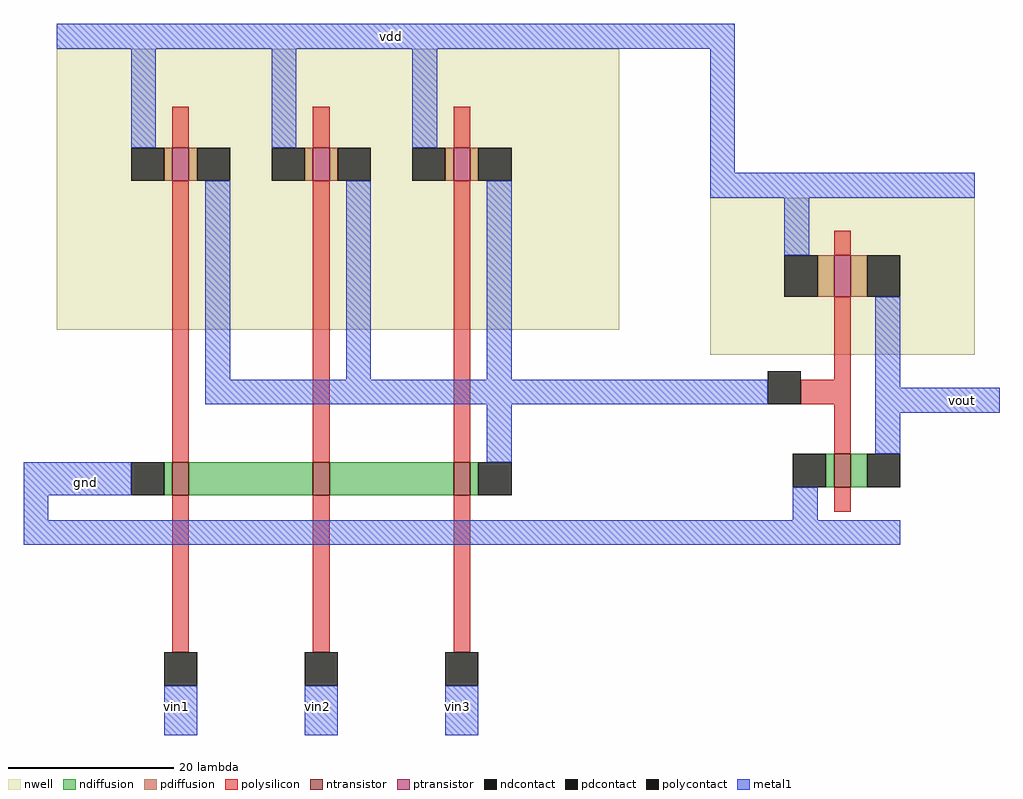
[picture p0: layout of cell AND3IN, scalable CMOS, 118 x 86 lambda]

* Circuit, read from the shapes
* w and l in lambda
.subckt AND3IN gnd vdd vin1 vin2 vin3 vout
M1 n1 vin1 gnd VSUBS nfet w=4 l=2
M2 n2 vin2 n1 VSUBS nfet w=4 l=2
M3 NOT_0/in vin3 n2 VSUBS nfet w=4 l=2
M4 vout NOT_0/in gnd VSUBS nfet w=4 l=2
M5 NOT_0/in vin1 vdd n3 pfet w=4 l=2
M6 NOT_0/in vin2 vdd n3 pfet w=4 l=2
M7 NOT_0/in vin3 vdd n3 pfet w=4 l=2
M8 vout NOT_0/in vdd n4 pfet w=5 l=2
.ends

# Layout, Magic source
magic
tech scmos
<< nwell >>
rect -14 -10 54 24
<< ntransistor >>
rect 0 -30 2 -26
rect 17 -30 19 -26
rect 34 -30 36 -26
<< ptransistor >>
rect 0 8 2 12
rect 17 8 19 12
rect 34 8 36 12
<< ndiffusion >>
rect -1 -30 0 -26
rect 2 -30 17 -26
rect 19 -30 34 -26
rect 36 -30 37 -26
<< pdiffusion >>
rect -1 8 0 12
rect 2 8 3 12
rect 16 8 17 12
rect 19 8 20 12
rect 33 8 34 12
rect 36 8 37 12
<< ndcontact >>
rect -5 -30 -1 -26
rect 37 -30 41 -26
<< pdcontact >>
rect -5 8 -1 12
rect 3 8 7 12
rect 12 8 16 12
rect 20 8 24 12
rect 29 8 33 12
rect 37 8 41 12
<< polysilicon >>
rect 0 12 2 17
rect 17 12 19 17
rect 34 12 36 17
rect 0 -26 2 8
rect 17 -26 19 8
rect 34 -26 36 8
rect 0 -49 2 -30
rect 17 -49 19 -30
rect 34 -49 36 -30
<< polycontact >>
rect -1 -53 3 -49
rect 16 -53 20 -49
rect 33 -53 37 -49
<< metal1 >>
rect -14 24 68 27
rect -5 12 -2 24
rect 12 12 15 24
rect 29 12 32 24
rect 4 -16 7 8
rect 21 -16 24 8
rect 38 -16 41 8
rect 65 6 68 24
rect 4 -19 70 -16
rect 38 -26 41 -19
rect 91 -20 100 -17
rect -18 -30 -5 -26
rect -18 -33 -15 -30
rect -18 -36 85 -33
rect -1 -59 3 -53
rect 16 -59 20 -53
rect 33 -59 37 -53
use NOT  NOT_0
transform 1 0 72 0 1 -10
box -7 -26 25 19
<< labels >>
rlabel metal1 26 25 27 26 5 vdd
rlabel metal1 -11 -29 -10 -28 1 gnd
rlabel metal1 95 -19 96 -18 7 vout
rlabel metal1 0 -56 1 -55 1 vin1
rlabel metal1 17 -56 18 -55 1 vin2
rlabel metal1 34 -56 35 -55 1 vin3
<< end >>

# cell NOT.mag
magic
tech scmos
<< nwell >>
rect -7 -3 25 16
<< ntransistor >>
rect 8 -19 10 -15
<< ptransistor >>
rect 8 4 10 9
<< ndiffusion >>
rect 7 -19 8 -15
rect 10 -19 12 -15
<< pdiffusion >>
rect 6 4 8 9
rect 10 4 12 9
<< ndcontact >>
rect 3 -19 7 -15
rect 12 -19 16 -15
<< pdcontact >>
rect 2 4 6 9
rect 12 4 16 9
<< polysilicon >>
rect 8 9 10 12
rect 8 -6 10 4
rect 4 -9 10 -6
rect 8 -15 10 -9
rect 8 -22 10 -19
<< polycontact >>
rect 0 -9 4 -5
<< metal1 >>
rect -7 16 25 19
rect 2 9 5 16
rect -3 -9 0 -6
rect 13 -7 16 4
rect 13 -10 20 -7
rect 13 -15 16 -10
rect 3 -23 6 -19
rect 2 -26 16 -23
<< labels >>
rlabel metal1 6 17 9 18 5 vdd
rlabel metal1 -3 -8 -2 -7 3 in
rlabel metal1 18 -9 19 -8 1 out
rlabel metal1 9 -25 10 -24 1 gnd
<< end >>
